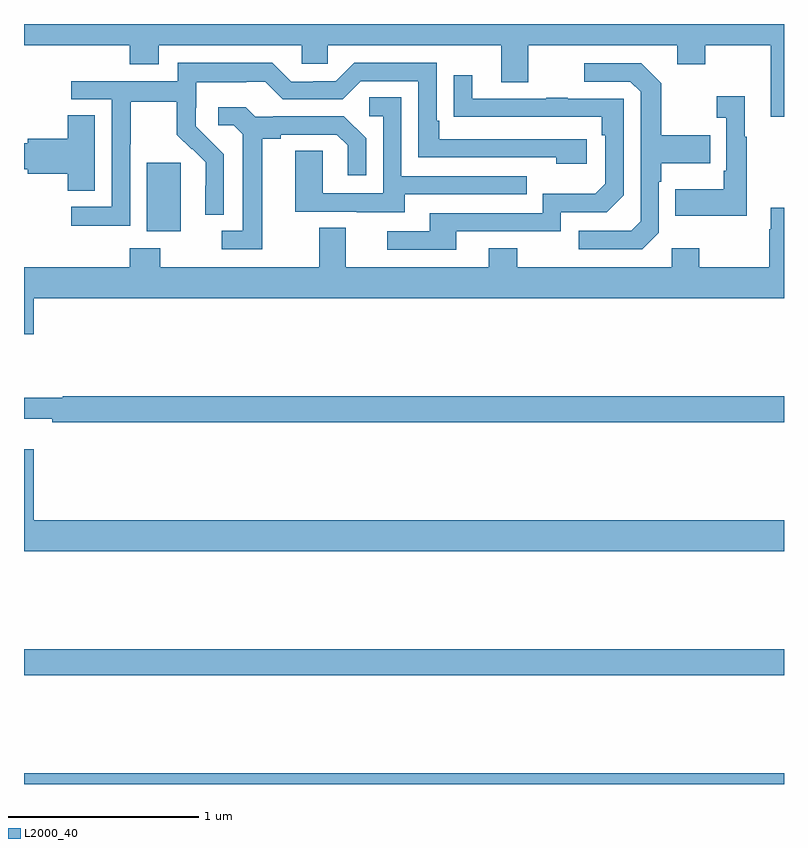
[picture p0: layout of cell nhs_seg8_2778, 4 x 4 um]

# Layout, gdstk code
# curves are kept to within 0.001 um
import gdstk
lib = gdstk.Library(unit=1e-6, precision=1e-09)
def R(c, l, rs):  # rectangles x0, y0, x1, y1
    for r in rs: c.add(gdstk.rectangle(r[:2], r[2:], *l))
def P(c, l, *ps):  # polygons
    for p in ps: c.add(gdstk.Polygon(p, *l))
L2000_40 = (2000, 40)

nhs_seg8_2778 = lib.new_cell('nhs_seg8_2778')
R(nhs_seg8_2778, L2000_40, [(285,1157.9,289,1157.956), (285,1158.472,289,1158.608), (285.647,1160.81,285.826,1161.171)])
P(nhs_seg8_2778, L2000_40, [(289,1161.9),(285,1161.9),(285,1161.788),(285.557,1161.788),(285.557,1161.689),(285.709,1161.689),(285.709,1161.788),(286.461,1161.788),(286.461,1161.69),(286.599,1161.69),(286.599,1161.788),(287.513,1161.788),(287.513,1161.594),(287.653,1161.594),(287.653,1161.788),(288.437,1161.788),(288.437,1161.689),(288.585,1161.689),(288.585,1161.788),(288.929,1161.788),(288.929,1161.411),(289,1161.411)],
  [(285.558,1161.268),(285.561,1161.268),(285.561,1161.492),(285.805,1161.492),(285.805,1161.317),(285.882,1161.24),(285.885,1161.243),(285.956,1161.173),(285.956,1161.05),(285.954,1161.05),(285.954,1160.896),(286.05,1160.896),(286.05,1161.214),(285.904,1161.362),(285.904,1161.459),(285.906,1161.459),(285.906,1161.593),(286.169,1161.593),(286.169,1161.597),(286.269,1161.597),(286.362,1161.504),(286.677,1161.504),(286.773,1161.6),(287.076,1161.6),(287.076,1161.198),(287.801,1161.198),(287.801,1161.164),(287.962,1161.164),(287.962,1161.294),(287.185,1161.294),(287.185,1161.391),(287.172,1161.391),(287.172,1161.696),(286.737,1161.696),(286.641,1161.6),(286.523,1161.6),(286.523,1161.597),(286.407,1161.597),(286.307,1161.697),(285.81,1161.697),(285.81,1161.6),(285.249,1161.6),(285.249,1161.504),(285.462,1161.504),(285.462,1160.937),(285.249,1160.937),(285.249,1160.839),(285.558,1160.839)],
  [(288.342,1160.802),(288.342,1161.071),(288.355,1161.071),(288.355,1161.167),(288.611,1161.167),(288.611,1161.315),(288.355,1161.315),(288.355,1161.587),(288.249,1161.693),(287.949,1161.693),(287.949,1161.597),(288.192,1161.597),(288.246,1161.543),(288.246,1160.862),(288.195,1160.811),(287.919,1160.811),(287.919,1160.715),(288.255,1160.715)],
  [(287.275,1160.808),(287.826,1160.808),(287.826,1160.91),(288.066,1160.91),(288.156,1161),(288.156,1161.507),(287.861,1161.507),(287.861,1161.512),(287.749,1161.512),(287.749,1161.507),(287.359,1161.507),(287.359,1161.631),(287.263,1161.631),(287.263,1161.412),(288.04,1161.411),(288.04,1161.314),(288.06,1161.314),(288.06,1161.06),(288.007,1161.007),(287.73,1161.007),(287.73,1160.904),(287.135,1160.904),(287.135,1160.808),(286.911,1160.808),(286.911,1160.712),(287.275,1160.712)],
  [(288.805,1161.307),(288.793,1161.307),(288.793,1161.52),(288.645,1161.52),(288.645,1161.407),(288.696,1161.407),(288.696,1161.127),(288.684,1161.127),(288.684,1161.031),(288.427,1161.031),(288.427,1160.891),(288.805,1160.891)],
  [(287.005,1161.003),(287.645,1161.003),(287.645,1161.099),(286.986,1161.099),(286.986,1161.515),(286.818,1161.515),(286.818,1161.414),(286.89,1161.414),(286.89,1161.009),(286.572,1161.009),(286.572,1161.233),(286.427,1161.233),(286.427,1160.913),(286.751,1160.913),(286.751,1160.909),(287.005,1160.909)],
  [(286.255,1161.296),(286.351,1161.296),(286.351,1161.318),(286.646,1161.318),(286.703,1161.261),(286.703,1161.105),(286.8,1161.105),(286.8,1161.298),(286.684,1161.414),(286.312,1161.414),(286.312,1161.411),(286.218,1161.411),(286.166,1161.463),(286.023,1161.463),(286.023,1161.366),(286.104,1161.366),(286.151,1161.319),(286.151,1160.811),(286.041,1160.811),(286.041,1160.715),(286.255,1160.715)],
  [(285.373,1161.419),(285.23,1161.419),(285.23,1161.296),(285.02,1161.296),(285.02,1161.272),(285,1161.272),(285,1161.136),(285.02,1161.136),(285.02,1161.113),(285.23,1161.113),(285.23,1161.022),(285.373,1161.022)],
  [(285.052,1160.456),(289,1160.456),(289,1160.932),(288.929,1160.932),(288.929,1160.819),(288.922,1160.819),(288.922,1160.62),(288.555,1160.62),(288.555,1160.719),(288.408,1160.719),(288.408,1160.62),(287.595,1160.62),(287.595,1160.719),(287.447,1160.719),(287.447,1160.62),(286.693,1160.62),(286.693,1160.828),(286.553,1160.828),(286.553,1160.62),(285.717,1160.62),(285.717,1160.719),(285.557,1160.719),(285.557,1160.62),(285,1160.62),(285,1160.268),(285.052,1160.268)],
  [(289,1159.94),(285.203,1159.94),(285.203,1159.933),(285,1159.933),(285,1159.823),(285.148,1159.823),(285.148,1159.804),(289,1159.804)],
  [(289,1159.288),(285.052,1159.288),(285.052,1159.663),(285,1159.663),(285,1159.124),(289,1159.124)])

lib.write_gds('nhs_seg8_2778.gds')
